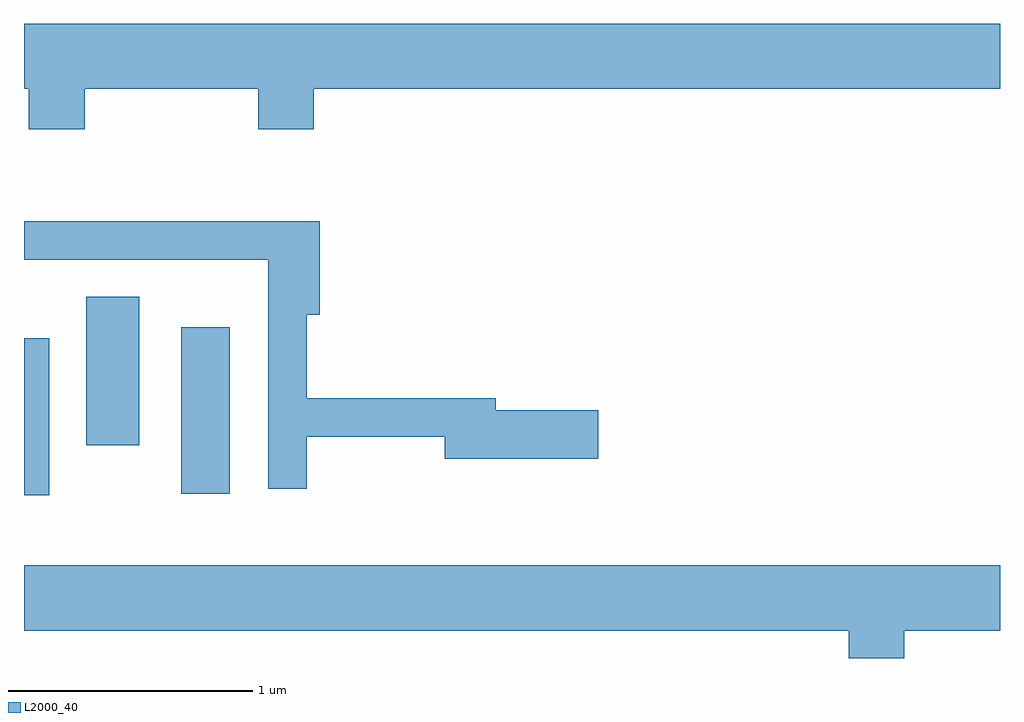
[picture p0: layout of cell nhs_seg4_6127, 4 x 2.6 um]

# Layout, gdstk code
import gdstk
lib = gdstk.Library(unit=1e-6, precision=1e-09)
def R(c, l, rs):  # rectangles x0, y0, x1, y1
    for r in rs: c.add(gdstk.rectangle(r[:2], r[2:], *l))
def P(c, l, *ps):  # polygons
    for p in ps: c.add(gdstk.Polygon(p, *l))
L2000_40 = (2000, 40)

nhs_seg4_6127 = lib.new_cell('nhs_seg4_6127')
R(nhs_seg4_6127, L2000_40, [(365.611,1268.651,365.714,1269.294), (366.256,1268.656,366.454,1269.339), (365.866,1268.856,366.084,1269.464)])
P(nhs_seg4_6127, L2000_40, [(365.859,1270.316),(366.571,1270.316),(366.571,1270.151),(366.799,1270.151),(366.799,1270.316),(369.611,1270.316),(369.611,1270.584),(365.611,1270.584),(365.611,1270.316),(365.631,1270.316),(365.631,1270.151),(365.859,1270.151)],
  [(366.769,1268.891),(367.336,1268.891),(367.336,1268.801),(367.964,1268.801),(367.964,1268.999),(367.544,1268.999),(367.544,1269.049),(366.769,1269.049),(366.769,1269.391),(366.824,1269.391),(366.824,1269.774),(365.611,1269.774),(365.611,1269.616),(366.611,1269.616),(366.611,1268.678),(366.769,1268.678)],
  [(369.219,1268.096),(369.611,1268.096),(369.611,1268.364),(365.611,1268.364),(365.611,1268.096),(368.991,1268.096),(368.991,1267.982),(369.219,1267.982)])

lib.write_gds('nhs_seg4_6127.gds')
